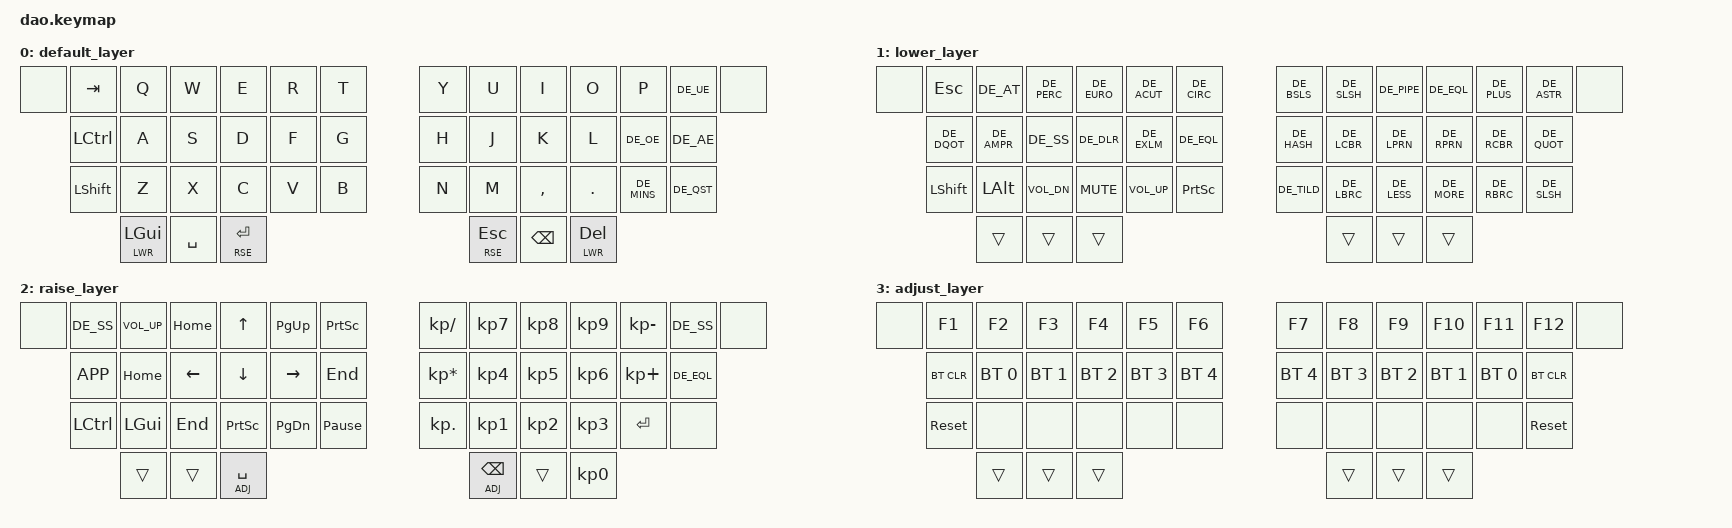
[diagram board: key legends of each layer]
/*
 * Copyright (c) 2021 Rafael Yumagulov
 *
 * SPDX-License-Identifier: MIT
 */

#include <behaviors.dtsi>
#include <dt-bindings/zmk/keys.h>
#include <dt-bindings/zmk/bt.h>
#include "keymap_german.h"

#define DEF 0
#define LWR 1
#define RSE 2
#define ADJ 3

&lt { quick_tap_ms = <200>; };
&mt { quick_tap_ms = <200>; };

/ {
        keymap {
                compatible = "zmk,keymap";

                default_layer {
                        bindings = <
&none &kp TAB    &kp Q &kp W &kp E &kp R &kp T            &kp Y &kp U &kp I    &kp O   &kp P       &kp DE_UE   &none
      &kp LCTRL  &kp A &kp S &kp D &kp F &kp G            &kp H &kp J &kp K     &kp L   &kp DE_OE   &kp DE_AE
      &kp LSHIFT &kp Z &kp X &kp C &kp V &kp B            &kp N &kp M &kp COMMA &kp DOT &kp DE_MINS &kp DE_QST 
               &lt LWR LGUI  &kp SPACE &lt RSE ENTER      &lt RSE ESC &kp BSPC &lt LWR DEL
                        >;
                };
                lower_layer {
                        bindings = <
&none &kp ESC    &kp DE_AT   &kp DE_PERC  &kp DE_EURO &kp DE_ACUT  &kp DE_CIRC      &kp DE_BSLS &kp DE_SLSH &kp DE_PIPE &kp DE_EQL  &kp DE_PLUS &kp DE_ASTR &none
      &kp DE_DQOT  &kp DE_AMPR &kp DE_SS    &kp DE_DLR  &kp DE_EXLM  &kp DE_EQL       &kp DE_HASH &kp DE_LCBR &kp DE_LPRN &kp DE_RPRN &kp DE_RCBR &kp DE_QUOT
      &kp LSHIFT &kp LALT    &kp C_VOL_DN &kp C_MUTE  &kp C_VOL_UP &kp PSCRN        &kp DE_TILD &kp DE_LBRC &kp DE_LESS &kp DE_MORE &kp DE_RBRC &kp DE_SLSH
                                                         &trans &trans &trans       &trans &trans &trans
                        >;
                };

                raise_layer {
                        bindings = <
&none &kp DE_SS  &kp C_VOL_UP &kp HOME &kp UP    &kp PG_UP &kp PSCRN            &kp KP_SLASH    &kp KP_N7 &kp KP_N8 &kp KP_N9 &kp KP_MINUS &kp DE_SS &none
      &kp K_APP  &kp HOME     &kp LEFT &kp DOWN  &kp RIGHT &kp END              &kp KP_MULTIPLY &kp KP_N4 &kp KP_N5 &kp KP_N6 &kp KP_PLUS  &kp DE_EQL 
      &kp LCTRL  &kp LGUI     &kp END  &kp PSCRN &kp PG_DN &kp PAUSE_BREAK      &kp KP_DOT      &kp KP_N1 &kp KP_N2 &kp KP_N3 &kp ENTER &none
                                             &trans &trans &lt ADJ SPACE        &lt ADJ BSPC    &trans     &kp KP_N0
                        >;
                };
                adjust_layer {
                        bindings = <
&none &kp F1     &kp F2       &kp F3       &kp F4       &kp F5       &kp F6          &kp F7       &kp F8       &kp F9       &kp F10      &kp F11      &kp F12 &none
      &bt BT_CLR  &bt BT_SEL 0 &bt BT_SEL 1 &bt BT_SEL 2 &bt BT_SEL 3 &bt BT_SEL 4    &bt BT_SEL 4 &bt BT_SEL 3 &bt BT_SEL 2 &bt BT_SEL 1 &bt BT_SEL 0 &bt BT_CLR
      &sys_reset      &none        &none        &none        &none        &none           &none        &none        &none        &none        &none        &sys_reset
                                                              &trans &trans &trans    &trans &trans &trans
                        >;
                };
        };
};
